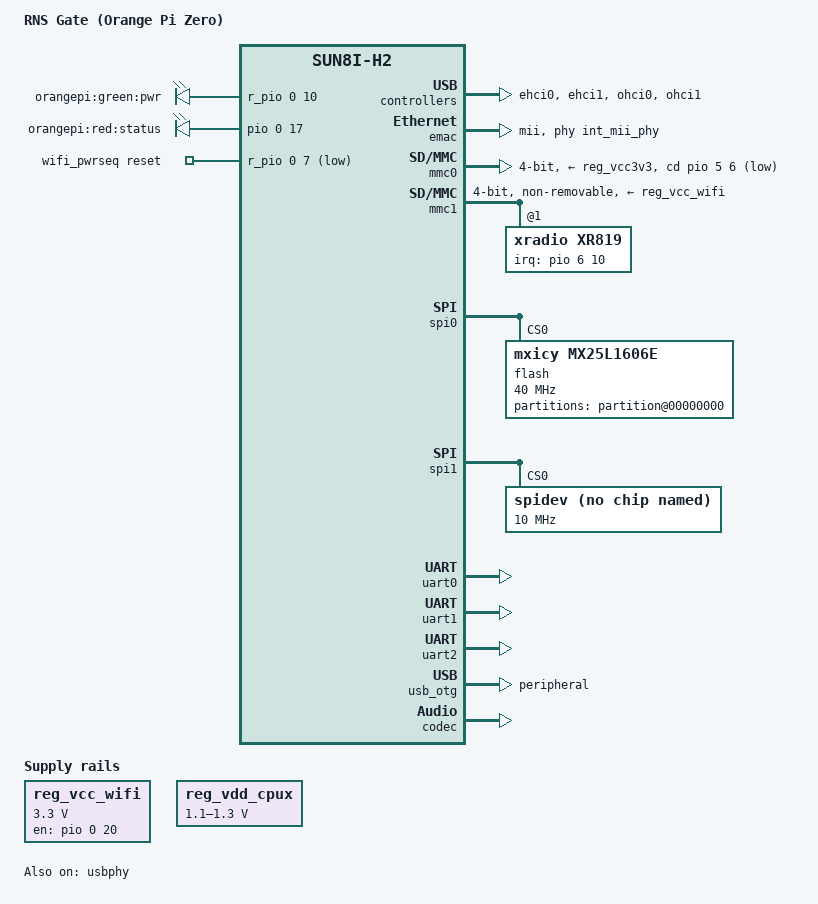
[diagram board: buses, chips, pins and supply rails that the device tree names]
/dts-v1/;
#include "sun8i-h3.dtsi"
#include "sunxi-common-regulators.dtsi"

#include <dt-bindings/gpio/gpio.h>
#include <dt-bindings/input/input.h>

/ {
	model = "RNS Gate (Orange Pi Zero)";
	compatible = "xunlong,orangepi-zero", "allwinner,sun8i-h2-plus";

	aliases {
		serial0 = &uart0;
		/* ethernet0 is the H3 emac, defined in sun8i-h3.dtsi */
		ethernet0 = &emac;
		ethernet1 = &xr819;
		spi1 = &spi1;
	};

	chosen {
		stdout-path = "serial0:115200n8";
	};

	leds {
		compatible = "gpio-leds";

		pwr_led {
			label = "orangepi:green:pwr";
			gpios = <&r_pio 0 10 GPIO_ACTIVE_HIGH>;
			default-state = "on";
		};

		status_led {
			label = "orangepi:red:status";
			gpios = <&pio 0 17 GPIO_ACTIVE_HIGH>;
		};
	};

	reg_vcc_wifi: reg-vcc-wifi {
		compatible = "regulator-fixed";
		regulator-min-microvolt = <3300000>;
		regulator-max-microvolt = <3300000>;
		regulator-name = "vcc-wifi";
		enable-active-high;
		gpio = <&pio 0 20 GPIO_ACTIVE_HIGH>;
	};

	reg_vdd_cpux: vdd-cpux-regulator {
		compatible = "regulator-gpio";
		regulator-name = "vdd-cpux";
		regulator-type = "voltage";
		regulator-boot-on;
		regulator-always-on;
		regulator-min-microvolt = <1100000>;
		regulator-max-microvolt = <1300000>;
		regulator-ramp-delay = <50>; /* 4ms */

		gpios = <&r_pio 0 6 GPIO_ACTIVE_HIGH>; /* PL6 */
		enable-active-high;
		gpios-states = <1>;
		states = <1100000 0>, <1300000 1>;
	};

	wifi_pwrseq: pwrseq {
		compatible = "mmc-pwrseq-simple";
		reset-gpios = <&r_pio 0 7 GPIO_ACTIVE_LOW>;
		post-power-on-delay-ms = <200>;
	};
};

&cpu0 {
	cpu-supply = <&reg_vdd_cpux>;
};

&ehci0 {
	status = "okay";
};

&ehci1 {
	status = "okay";
};

&emac {
	phy-handle = <&int_mii_phy>;
	phy-mode = "mii";
	allwinner,leds-active-low;
	status = "okay";
};

&mmc0 {
	vmmc-supply = <&reg_vcc3v3>;
	bus-width = <4>;
	cd-gpios = <&pio 5 6 GPIO_ACTIVE_LOW>; /* PF6 */
	status = "okay";
};

&mmc1 {
	vmmc-supply = <&reg_vcc_wifi>;
	mmc-pwrseq = <&wifi_pwrseq>;
	bus-width = <4>;
	non-removable;
	status = "okay";

	/*
	 * Explicitly define the sdio device, so that we can add an ethernet
	 * alias for it (which e.g. makes u-boot set a mac-address).
	 */
	xr819: wifi@1 {
		reg = <1>;
		compatible = "xradio,xr819";
		interrupt-parent = <&pio>;
		interrupts = <6 10 IRQ_TYPE_EDGE_RISING>;
	};
};

&ohci0 {
	status = "okay";
};

&ohci1 {
	status = "okay";
};

&spi0 {
	/* Disable SPI NOR by default: it optional on Orange Pi Zero boards */
	status = "okay";

	flash@0 {
		#address-cells = <1>;
		#size-cells = <1>;
		compatible = "mxicy,mx25l1606e", "winbond,w25q128";
		reg = <0>;
		spi-max-frequency = <40000000>;

		partition@00000000 {
			reg = <0x00000000 0x200000>;	/* 2Mb */
		};
	};
};

&spi1 {
	status = "okay";

	spidev@0 {
		compatible = "rohm,dh2228fv";
		reg = <0>;
		spi-max-frequency = <10000000>;
	};
};

&uart0 {
	pinctrl-names = "default";
	pinctrl-0 = <&uart0_pa_pins>;
	status = "okay";
};

&uart1 {
	pinctrl-names = "default";
	pinctrl-0 = <&uart1_pins>;
	status = "okay";
};

&uart2 {
	pinctrl-names = "default";
	pinctrl-0 = <&uart2_pins>;
	status = "okay";
};

&usb_otg {
	dr_mode = "peripheral";
	status = "okay";
};

&usbphy {
	/*
	 * USB Type-A port VBUS is always on. However, MicroUSB VBUS can only
	 * power up the board; when it's used as OTG port, this VBUS is
	 * always off even if the board is powered via GPIO pins.
	 */
	status = "okay";
	usb0_id_det-gpios = <&pio 6 12 GPIO_ACTIVE_HIGH>; /* PG12 */
};

&codec {
	allwinner,audio-routing =
		"Speaker", "LINEOUT",
		"MIC1", "Mic",
		"Mic",  "MBIAS";
	status = "okay";
};
